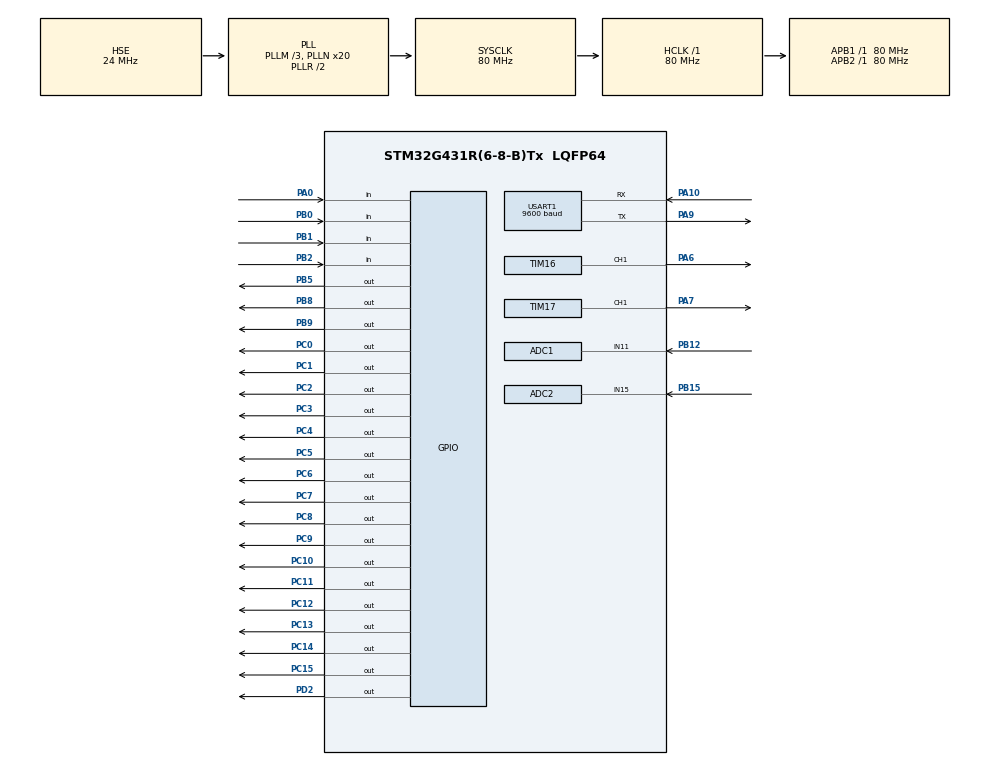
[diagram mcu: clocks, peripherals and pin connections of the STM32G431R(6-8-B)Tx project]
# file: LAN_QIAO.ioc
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ADC1.Channel-0\#ChannelRegularConversion=ADC_CHANNEL_11
ADC1.NbrOfConversionFlag=1
ADC1.OffsetNumber-0\#ChannelRegularConversion=ADC_OFFSET_NONE
ADC1.Rank-0\#ChannelRegularConversion=1
ADC1.SamplingTime-0\#ChannelRegularConversion=ADC_SAMPLETIME_2CYCLES_5
ADC1.master=1
ADC2.Channel-0\#ChannelRegularConversion=ADC_CHANNEL_15
ADC2.NbrOfConversionFlag=1
ADC2.OffsetNumber-0\#ChannelRegularConversion=ADC_OFFSET_NONE
ADC2.Rank-0\#ChannelRegularConversion=1
ADC2.SamplingTime-0\#ChannelRegularConversion=ADC_SAMPLETIME_2CYCLES_5
Mcu.Family=STM32G4
Mcu.Name=STM32G431R(6-8-B)Tx
Mcu.Package=LQFP64
NVIC.PriorityGroup=NVIC_PRIORITYGROUP_4
NVIC.USART1_IRQn=true\:0\:0\:false\:false\:true\:true\:true\:true
PA0.GPIO_PuPd=GPIO_NOPULL
PA0.Signal=GPIO_Input
PA10.Mode=Asynchronous
PA10.Signal=USART1_RX
PA6.Signal=S_TIM16_CH1
PA7.Signal=S_TIM17_CH1
PA9.Mode=Asynchronous
PA9.Signal=USART1_TX
PB0.GPIO_PuPd=GPIO_NOPULL
PB0.Signal=GPIO_Input
PB1.GPIO_PuPd=GPIO_NOPULL
PB1.Signal=GPIO_Input
PB12.Mode=IN11-Single-Ended
PB12.Signal=ADC1_IN11
PB15.Mode=IN15-Single-Ended
PB15.Signal=ADC2_IN15
PB2.GPIO_PuPd=GPIO_NOPULL
PB2.Signal=GPIO_Input
PB5.Signal=GPIO_Output
PB8-BOOT0.Signal=GPIO_Output
PB9.Signal=GPIO_Output
PC0.Signal=GPIO_Output
PC1.Signal=GPIO_Output
PC10.PinState=GPIO_PIN_SET
PC10.Signal=GPIO_Output
PC11.PinState=GPIO_PIN_SET
PC11.Signal=GPIO_Output
PC12.PinState=GPIO_PIN_SET
PC12.Signal=GPIO_Output
PC13.PinState=GPIO_PIN_SET
PC13.Signal=GPIO_Output
PC14-OSC32_IN.PinState=GPIO_PIN_SET
PC14-OSC32_IN.Signal=GPIO_Output
PC15-OSC32_OUT.PinState=GPIO_PIN_SET
PC15-OSC32_OUT.Signal=GPIO_Output
PC2.Signal=GPIO_Output
PC3.Signal=GPIO_Output
PC4.Signal=GPIO_Output
PC5.Signal=GPIO_Output
PC6.Signal=GPIO_Output
PC7.Signal=GPIO_Output
PC8.PinState=GPIO_PIN_SET
PC8.Signal=GPIO_Output
PC9.PinState=GPIO_PIN_SET
PC9.Signal=GPIO_Output
PD2.PinState=GPIO_PIN_SET
PD2.Signal=GPIO_Output
PF0-OSC_IN.Mode=HSE-External-Oscillator
PF0-OSC_IN.Signal=RCC_OSC_IN
PF1-OSC_OUT.Mode=HSE-External-Oscillator
PF1-OSC_OUT.Signal=RCC_OSC_OUT
ProjectManager.HeapSize=0x200
ProjectManager.StackSize=0x400
ProjectManager.TargetToolchain=MDK-ARM V5.32
RCC.ADC12Freq_Value=80000000
RCC.AHBFreq_Value=80000000
RCC.APB1Freq_Value=80000000
RCC.APB1TimFreq_Value=80000000
RCC.APB2Freq_Value=80000000
RCC.APB2TimFreq_Value=80000000
RCC.CortexFreq_Value=80000000
RCC.EXTERNAL_CLOCK_VALUE=12288000
RCC.HCLKFreq_Value=80000000
RCC.HSE_VALUE=24000000
RCC.HSI48_VALUE=48000000
RCC.HSI_VALUE=16000000
RCC.LSE_VALUE=32768
RCC.PLLM=RCC_PLLM_DIV3
RCC.PLLN=20
RCC.PLLSourceVirtual=RCC_PLLSOURCE_HSE
RCC.RTCClockSelection=RCC_RTCCLKSOURCE_HSE_DIV32
RCC.SYSCLKFreq_VALUE=80000000
RCC.SYSCLKSource=RCC_SYSCLKSOURCE_PLLCLK
RCC.USBFreq_Value=80000000
RCC.VCOOutputFreq_Value=160000000
RTC.AsynchPrediv=125
RTC.Hours=23
RTC.Minutes=59
RTC.Seconds=55
RTC.SynchPrediv=6000
SH.S_TIM16_CH1.0=TIM16_CH1,PWM Generation1 CH1
SH.S_TIM17_CH1.0=TIM17_CH1,PWM Generation1 CH1
TIM16.Channel=TIM_CHANNEL_1
TIM16.ClockDivision=TIM_CLOCKDIVISION_DIV1
TIM16.PeriodNoDither=100-1
TIM16.Prescaler=8000-1
TIM17.Channel=TIM_CHANNEL_1
TIM17.PeriodNoDither=100-1
TIM17.Prescaler=4000-1
USART1.BaudRate=9600
USART1.VirtualMode-Asynchronous=VM_ASYNC
VP_RTC_VS_RTC_Activate.Mode=RTC_Enabled
VP_RTC_VS_RTC_Calendar.Mode=RTC_Calendar
VP_SYS_VS_DBSignals.Mode=DisableDeadBatterySignals
VP_TIM16_VS_ClockSourceINT.Mode=Enable_Timer
VP_TIM17_VS_ClockSourceINT.Mode=Enable_Timer
board=custom

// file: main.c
/* USER CODE BEGIN Header */
/**
  ******************************************************************************
  * @file           : main.c
  * @brief          : Main program body
  ******************************************************************************
  * @attention
  *
  * Copyright (c) 2024 STMicroelectronics.
  * All rights reserved.
  *
  * This software is licensed under terms that can be found in the LICENSE file
  * in the root directory of this software component.
  * If no LICENSE file comes with this software, it is provided AS-IS.
  *
  ******************************************************************************
  */
/* USER CODE END Header */
#include "main.h"
#include "adc.h"
#include "rtc.h"
#include "tim.h"
#include "usart.h"
#include "gpio.h"

/* USER CODE BEGIN Includes */
#include "bsp_system.h"
#include "i2c.h"

/* USER CODE END Includes */

/* USER CODE BEGIN PTD */
RTC_TimeTypeDef RTC_time;
RTC_DateTypeDef RTC_date;
/* USER CODE END PTD */

/* USER CODE BEGIN PV */

uint8_t key_val=0,key_down=0,key_up=0,key_old=0;
uint32_t tick=0;        //计时ms
uint8_t ucled=0x00;
char Lcd_buff[21];
char tx_buff[20];
uint8_t Rx_Data=0;

uint8_t RxData_Handle_Flag=0;
uint8_t Tx_Flag=0;

uint8_t page=0;         //页面
uint8_t line=0;
uint16_t count1=0,count2=0;

uint8_t Led_State=1;	//默认on

uint16_t ADC_Value1;
uint16_t ADC_Value2;

uint16_t Fre1,Fre2;
uint8_t duty1=10,duty2=10;

uint8_t hour=0,minute=0,second=0;

float k=0.1;
float Voltage=0;
float Set_k=0;

char Led_Text[4]="ON";
/* USER CODE END PV */

void SystemClock_Config(void);

/* USER CODE BEGIN 0 */

int fputc(int ch, FILE *f) {
	HAL_UART_Transmit(&huart1, (uint8_t *)&ch, 1, HAL_MAX_DELAY);
	return ch;
}

void LCD_default_configuration(void)
{
	//LCD_Clear(Black);
	LCD_SetBackColor(Black);
	LCD_SetTextColor(White);
}

void LCD_Highlight(void)
{
  LCD_SetBackColor(Green);
	LCD_SetTextColor(White);
}

void LCD_Proc(void)
{
	LCD_default_configuration();
  if (page==0)
  {

		if(count1==0)
		{
			LCD_Clear(Black);
			count1=1;
			count2=0;
		}
    LCD_default_configuration();

			sprintf(Lcd_buff,"  V1:%.2f",Voltage);
		 LCD_DisplayStringLine(Line3,(uint8_t*)Lcd_buff);
			sprintf(Lcd_buff,"  k:%.2f",k);
		 LCD_DisplayStringLine(Line4,(uint8_t*)Lcd_buff);

	if(Led_State==0)
	sprintf(Led_Text,"OFF");
	else
	sprintf(Led_Text,"ON ");

			sprintf(Lcd_buff,"  LED:%s",Led_Text);
			LCD_DisplayStringLine(Line5,(uint8_t*)Lcd_buff);
			sprintf(Lcd_buff,"  T:%02d-%02d-%02d",hour,minute,second);
			LCD_DisplayStringLine(Line6,(uint8_t*)Lcd_buff);

  }
	if(page==1)
	{
		if(count2==0)
		{
			LCD_Clear(Black);
			count2=1;
			count1=0;
		}														//清屏
		LCD_default_configuration();
			sprintf(Lcd_buff,"       Setting");
			LCD_DisplayStringLine(Line2,(uint8_t*)Lcd_buff);
		if(line==0)
			LCD_Highlight();
		else
			LCD_default_configuration();

			sprintf(Lcd_buff,"%02d",hour);
			LCD_DisplayString(Line4,319-80,(uint8_t*)Lcd_buff);

		LCD_default_configuration();
		sprintf(Lcd_buff,"-");
			LCD_DisplayString(Line4,319-112,(uint8_t*)Lcd_buff);

		if(line==1)
			LCD_Highlight();
		 else
			 LCD_default_configuration();

			sprintf(Lcd_buff,"%02d",minute);
			LCD_DisplayString(Line4,319-128,(uint8_t*)Lcd_buff);

			LCD_default_configuration();
		 sprintf(Lcd_buff,"-");
			LCD_DisplayString(Line4,319-160,(uint8_t*)Lcd_buff);

		 if(line==2)
			 LCD_Highlight();
		 else
			 LCD_default_configuration();

		 sprintf(Lcd_buff,"%02d",second);
			LCD_DisplayString(Line4,319-176,(uint8_t*)Lcd_buff);

	}

}

/* USER CODE END 0 */

int main(void)
{
  /* USER CODE BEGIN 1 */
	uint8_t byteData[4];
  /* USER CODE END 1 */

  /* MCU Configuration--------------------------------------------------------*/

  /* Reset of all peripherals, Initializes the Flash interface and the Systick. */
  HAL_Init();

  /* USER CODE BEGIN Init */

	LCD_Init();
	scheduler_Init();
	LCD_Clear(Black);

  /* USER CODE END Init */

  /* Configure the system clock */
  SystemClock_Config();

  /* Initialize all configured peripherals */
  MX_GPIO_Init();
  MX_USART1_UART_Init();
  MX_ADC1_Init();
  MX_ADC2_Init();
  MX_TIM16_Init();
  MX_TIM17_Init();
  MX_RTC_Init();
  /* USER CODE BEGIN 2 */

	HAL_UART_Receive_IT(&huart1,&Rx_Data,1);

	HAL_ADCEx_Calibration_Start(&hadc1,ADC_SINGLE_ENDED);
	HAL_ADCEx_Calibration_Start(&hadc2,ADC_SINGLE_ENDED);

	I2CInit();

		k=EEPROM_Read(1)/10.0;
		//memcpy(&k, byteData, sizeof(float));

  /* USER CODE END 2 */

  /* Infinite loop */
  /* USER CODE BEGIN WHILE */
  while (1)
  {

		HAL_RTC_GetTime(&hrtc,&RTC_time,RTC_FORMAT_BIN);
		HAL_RTC_GetDate(&hrtc,&RTC_date,RTC_FORMAT_BIN);
		HAL_ADC_Start(&hadc2);
		//Key_Long_Short_Process();
		//Key_Double_Single_Process();
		Key_Process();
		RxData_Handle();

		if(key_down==1)
		{
			if(Led_State==1)
				Led_State=0;
			else
				Led_State=1;
		}

		else if(key_down==2)
		{
			page=(page+1)%2;
		}
		else if(key_down==3)
		{
			if(page==1)
			line=(line+1)%3;
		}
		else if(key_down==4)
		{
			if(page==1)
			{
			if(line==0)
				hour=(hour+1)%25;
			else if(line==1)
				minute=(minute+1)%61;
			else if(line==2)
				second=(second+1)%61;
			}
		}

	ADC_Value1=HAL_ADC_GetValue(&hadc2);
	Voltage=ADC_Value1*3.3/4096;
		LCD_Proc();

		if(Voltage>3.3*k)
		{
			if(Led_State==1)
			{
				if(tick<=200)
				LED_Disp(0x01);
				else if(tick>200&&tick<400)
					LED_Disp(0x00);
				else if(tick>=400)
					tick=0;
			}
		}
		else
			LED_Disp(0x00);
		if(Led_State==0)
			LED_Disp(0x00);

		if(RTC_time.Hours==hour&&RTC_time.Minutes==minute&&RTC_time.Seconds==second)
		{
			Tx_Flag=1;
		}
		if(Tx_Flag==1)
		{
printf("%.2f+%.1f+%02d%02d%02d\n",Voltage,k,hour,minute,second);
		Tx_Flag=0;
			HAL_Delay(500);
		}
		//memcpy(byteData, &k, sizeof(float));
		EEPROM_Write(1,k*10);

  }
    /* USER CODE END WHILE */

}

void SystemClock_Config(void)
{
  RCC_OscInitTypeDef RCC_OscInitStruct = {0};
  RCC_ClkInitTypeDef RCC_ClkInitStruct = {0};

  /** Configure the main internal regulator output voltage
  */
  HAL_PWREx_ControlVoltageScaling(PWR_REGULATOR_VOLTAGE_SCALE1);

  /** Initializes the RCC Oscillators according to the specified parameters
  * in the RCC_OscInitTypeDef structure.
  */
  RCC_OscInitStruct.OscillatorType = RCC_OSCILLATORTYPE_HSE;
  RCC_OscInitStruct.HSEState = RCC_HSE_ON;
  RCC_OscInitStruct.PLL.PLLState = RCC_PLL_ON;
  RCC_OscInitStruct.PLL.PLLSource = RCC_PLLSOURCE_HSE;
  RCC_OscInitStruct.PLL.PLLM = RCC_PLLM_DIV3;
  RCC_OscInitStruct.PLL.PLLN = 20;
  RCC_OscInitStruct.PLL.PLLP = RCC_PLLP_DIV2;
  RCC_OscInitStruct.PLL.PLLQ = RCC_PLLQ_DIV2;
  RCC_OscInitStruct.PLL.PLLR = RCC_PLLR_DIV2;
  if (HAL_RCC_OscConfig(&RCC_OscInitStruct) != HAL_OK)
  {
    Error_Handler();
  }

  /** Initializes the CPU, AHB and APB buses clocks
  */
  RCC_ClkInitStruct.ClockType = RCC_CLOCKTYPE_HCLK|RCC_CLOCKTYPE_SYSCLK
                              |RCC_CLOCKTYPE_PCLK1|RCC_CLOCKTYPE_PCLK2;
  RCC_ClkInitStruct.SYSCLKSource = RCC_SYSCLKSOURCE_PLLCLK;
  RCC_ClkInitStruct.AHBCLKDivider = RCC_SYSCLK_DIV1;
  RCC_ClkInitStruct.APB1CLKDivider = RCC_HCLK_DIV1;
  RCC_ClkInitStruct.APB2CLKDivider = RCC_HCLK_DIV1;

  if (HAL_RCC_ClockConfig(&RCC_ClkInitStruct, FLASH_LATENCY_2) != HAL_OK)
  {
    Error_Handler();
  }
}

void Error_Handler(void)
{
  __disable_irq();
  while (1)
  {
  }
}
